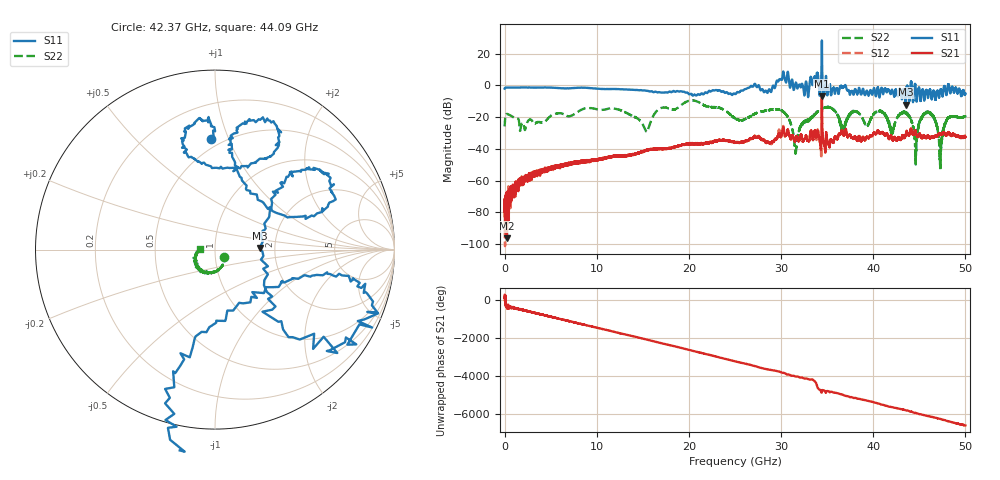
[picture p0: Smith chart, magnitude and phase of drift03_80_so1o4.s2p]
!Created with skrf (http://scikit-rf.org).
# Hz S RI R 50.0
!freq ReS11 ImS11 ReS21 ImS21 ReS12 ImS12 ReS22 ImS22
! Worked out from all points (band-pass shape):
!   10000 points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, 5.3 MHz to 50 GHz, reference 50 ohm
!   highest |S21| = -6.86 dB at 34.43 GHz (marker M1); lowest = -96.3 dB at 260.3 MHz (marker M2)
!   |S21| within 3 dB of the highest: 34.42733 GHz to 34.43559 GHz (8.262 MHz wide, 0.024 % of centre)
!   lowest |S11| = -12.1 dB at 43.52 GHz (marker M3), VSWR 1.66, Z = 83.1 + j1.67 ohm
!   |S11| at or under -10 dB: 43.48429 GHz to 43.54384 GHz (59.55 MHz wide, 0.137 % of centre); 44.30464 GHz to 44.31781 GHz (13.17 MHz wide, 0.0297 % of centre); 44.70466 GHz to 44.71501 GHz (10.35 MHz wide, 0.0231 % of centre) (the widest 3 of 5)
!   |S22| runs from -53.8 to -9.5 dB; largest |S21 - S12| = 0.13
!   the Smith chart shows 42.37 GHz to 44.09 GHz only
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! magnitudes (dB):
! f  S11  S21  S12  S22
! 5.3 MHz  -2.1  -73.7  -77.2  -25.9
! 260.3 MHz  -1.4  -96.3  -70.6  -18.1
! 2.48 GHz  -1.4  -57.3  -58.2  -23.0
! 8.34 GHz  -1.5  -47.8  -48.3  -15.3
! 15.4 GHz  -3.4  -40.9  -40.8  -29.1
! 16.67 GHz  -4.4  -40.1  -40.0  -15.3
! 20.47 GHz  -6.4  -36.8  -36.8  -9.5
! 25.01 GHz  -5.5  -35.9  -35.9  -20.8
! 29.95 GHz  3.9  -32.4  -32.0  -15.6
! 31.59 GHz  1.4  -33.9  -34.0  -42.6
! 33.34 GHz  2.6  -30.3  -30.6  -20.4
! 34.43 GHz  28.3  -6.9  -8.6  -14.5
! 36.69 GHz  -1.5  -29.7  -29.7  -28.6
! 37.94 GHz  -4.4  -32.7  -32.7  -16.6
! 41.67 GHz  -2.9  -33.2  -33.3  -23.1
! 43.52 GHz  -12.1  -31.6  -31.6  -17.6
! 44.61 GHz  -1.6  -29.1  -29.1  -41.4
! 45.27 GHz  -4.0  -33.2  -33.2  -20.1
! 46.28 GHz  -5.8  -32.6  -32.6  -17.6
! 47.29 GHz  -2.9  -30.9  -30.8  -50.3
! 48.12 GHz  0.4  -30.4  -30.1  -21.1
! 50 GHz  -5.3  -32.5  -32.6  -19.5
